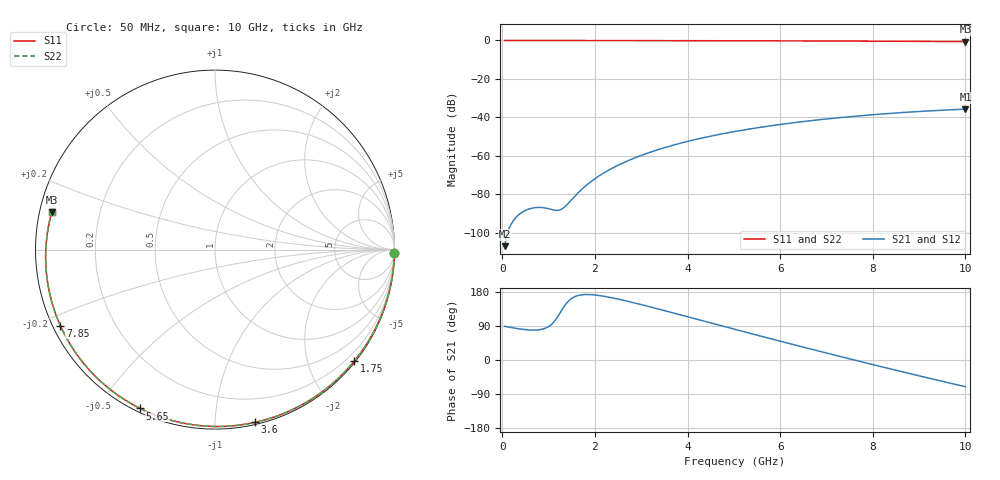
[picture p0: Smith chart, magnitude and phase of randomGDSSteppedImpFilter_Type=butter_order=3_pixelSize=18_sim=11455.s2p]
! freq	dB(S11)	phase(S11)	dB(S12)	phase(S12)
!  dB(S21)	phase(S21)	dB(S22)	phase(S22)
!S-par simulation data
#  GHz  S  DB  R 50
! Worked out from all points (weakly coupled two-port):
!   200 points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, 50 MHz to 10 GHz, reference 50 ohm
!   highest |S21| = -35.74 dB at 10 GHz (marker M1); lowest = -107.0 dB at 50 MHz (marker M2)
!   lowest |S11| = -0.6 dB at 10 GHz (marker M3), VSWR 28.94, Z = 1.75 + j5.63 ohm
!   |S11| at or under -10 dB: nowhere
!   |S22| runs from -0.6 to 0.0 dB; largest |S21 - S12| = 0
!   S11 on the Smith chart (normalised r, x): 50 MHz: open; 1.75 GHz: 0.03, -2.84; 3.6 GHz: 0.02, -1.26; 5.65 GHz: 0.02, -0.63; 7.85 GHz: 0.02, -0.23; 10 GHz: 0.03, +0.11
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0.05  -0.00 -1.1  -107.04 88.8  -107.04 88.8  -0.00 -1.1
0.4  -0.01 -9.0  -89.86 81.6  -89.86 81.6  -0.01 -9.0
0.8  -0.02 -18.0  -86.87 79.8  -86.87 79.8  -0.02 -18.0
1.2  -0.03 -26.8  -88.40 114.7  -88.40 114.7  -0.03 -26.8
1.6  -0.05 -35.5  -80.19 168.8  -80.19 168.8  -0.05 -35.6
1.75  -0.05 -38.8  -76.71 172.5  -76.71 172.5  -0.05 -38.8
1.9  -0.05 -42.0  -73.72 172.6  -73.72 172.6  -0.05 -42.0
2.05  -0.06 -45.2  -71.12 170.9  -71.12 170.9  -0.06 -45.2
2.25  -0.06 -49.4  -68.12 167.0  -68.12 167.0  -0.06 -49.5
2.45  -0.07 -53.6  -65.53 162.1  -65.53 162.1  -0.07 -53.7
2.9  -0.08 -62.9  -60.73 149.2  -60.73 149.2  -0.08 -63.0
3.4  -0.10 -73.0  -56.53 133.6  -56.53 133.6  -0.10 -73.0
3.6  -0.10 -76.9  -55.09 127.2  -55.09 127.2  -0.10 -77.0
4.3  -0.13 -90.4  -50.83 104.4  -50.83 104.4  -0.13 -90.5
5.05  -0.16 -104.4  -47.25 80.1  -47.25 80.1  -0.16 -104.5
5.65  -0.19 -115.3  -44.91 60.8  -44.91 60.8  -0.19 -115.4
6.7  -0.26 -133.8  -41.64 27.6  -41.64 27.6  -0.26 -133.9
7.3  -0.30 -144.2  -40.13 9.1  -40.13 9.1  -0.31 -144.4
7.85  -0.35 -153.8  -38.94 -7.6  -38.94 -7.6  -0.35 -154.0
8.35  -0.40 -162.6  -38.00 -22.6  -38.00 -22.6  -0.40 -162.8
9.2  -0.50 -177.9  -36.68 -47.6  -36.68 -47.6  -0.50 -178.1
10  -0.60 167.1  -35.74 -70.4  -35.74 -70.4  -0.60 166.9
